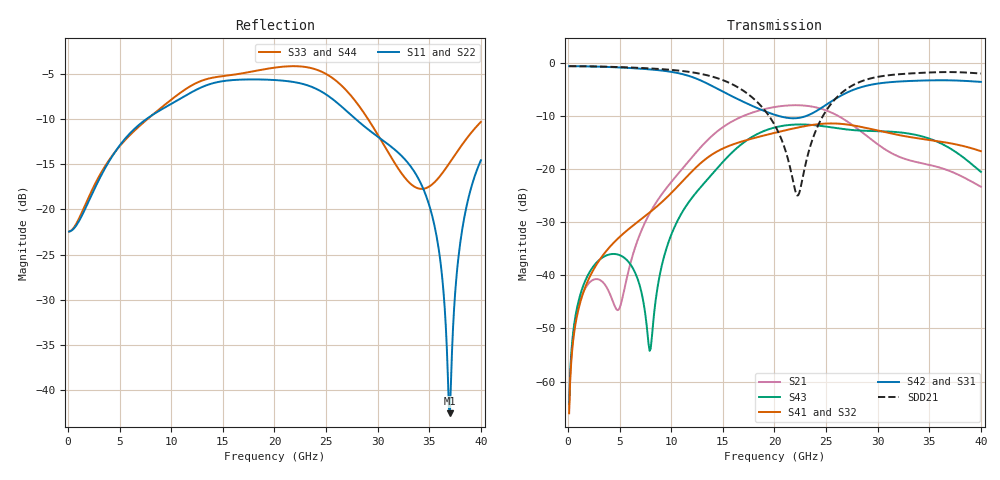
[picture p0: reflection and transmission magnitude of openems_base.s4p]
! E_s8_L1L3_p1200_round_g2: pair L1→L3, pitch 1.2 mm, two round antipads, 2 GND vias
! stackup: 8-layer 1.6 mm FR-4 (generic)
! ports: 1 P near, 2 N near, 3 P far, 4 N far
! openEMS 0.37.0, staircase, base mesh (dfine 0.035 mm), 790920 cells
# Hz S RI R 50
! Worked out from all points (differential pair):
!   400 points, 100 MHz to 40 GHz, reference 50 ohm
!   strongest paths, dB at 100 MHz, 10.1 GHz, 20.1 GHz, 30.1 GHz, 40 GHz:
!     S42: -0.7, -1.8, -9.9, -3.9, -3.6
!     S31: -0.7, -1.8, -9.9, -3.9, -3.6
!     S41: -66.0, -24.3, -13.2, -12.8, -16.7
!     S32: -66.0, -24.3, -13.2, -12.8, -16.7
!     S43: -64.2, -31.9, -12.2, -12.9, -20.6
!     S21: -64.8, -22.2, -8.3, -15.5, -23.4
!   taken as a pair (ports 2,1 in; 4,3 out), SDD21 dB: -0.7, -1.4, -12.0, -2.7, -2.1
!   lowest |S11| = -42.6 dB at 37 GHz (marker M1), VSWR 1.01, Z = 50.7 + j0.108 ohm
!   |S11| at or under -10 dB: start of sweep to 7.583 GHz; 27.87 GHz to end of sweep
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1e8  -0.0754 -0.0017  0.000161 0.00055  0.9238 -0.0351  -4.68e-06 -0.000506
     0.000161 0.00055  -0.0754 -0.0017  -4.68e-06 -0.000506  0.9238 -0.0351
     0.9238 -0.0351  -9.51e-06 -0.000503  -0.0754 -0.0017  0.00015 0.000595
     -9.51e-06 -0.000503  0.9238 -0.0351  0.00015 0.000595  -0.0754 -0.0017
3.3e9  -0.1578 -0.0046  0.00871 0.000411  0.2866 -0.8665  -0.015 -0.00135
       0.00871 0.000411  -0.1578 -0.0046  -0.015 -0.00135  0.2866 -0.8665
       0.2858 -0.8668  -0.015 -0.00134  -0.1618 0.0214  0.0132 0.00614
       -0.015 -0.00134  0.2858 -0.8668  0.0132 0.00614  -0.1618 0.0214
7.9e9  -0.0264 0.3245  0.0365 0.0107  -0.8552 -0.1134  0.0131 0.0365
       0.0365 0.0107  -0.0264 0.3245  0.0131 0.0365  -0.8552 -0.1134
       -0.8556 -0.1114  0.0133 0.0365  -0.0214 0.3231  0.00194 8.43e-05
       0.0133 0.0365  -0.8556 -0.1114  0.00194 8.43e-05  -0.0214 0.3231
1.55e10  -0.094 -0.5088  -0.2464 0.099  0.4702 0.1817  -0.1625 0.0167
         -0.2464 0.099  -0.094 -0.5088  -0.1625 0.0167  0.4702 0.1817
         0.4701 0.1789  -0.1621 0.0182  -0.005 -0.5518  -0.1187 0.0551
         -0.1621 0.0182  0.4701 0.1789  -0.1187 0.0551  -0.005 -0.5518
2.9e10  0.1681 -0.2233  -0.0159 0.2015  -0.6023 0.0942  0.084 0.2269
        -0.0159 0.2015  0.1681 -0.2233  0.084 0.2269  -0.6023 0.0942
        -0.5996 0.1001  0.0847 0.2258  0.2514 -0.1992  0.0611 0.2194
        0.0847 0.2258  -0.5996 0.1001  0.0611 0.2194  0.2514 -0.1992
3.7e10  0.00736 0.00107  6.12e-05 -0.0953  0.6815 -0.0435  -0.1342 -0.1137
        6.12e-05 -0.0953  0.00736 0.00107  -0.1342 -0.1137  0.6815 -0.0435
        0.6786 -0.0472  -0.1324 -0.1136  -0.1808 -0.0218  -0.0967 -0.1227
        -0.1324 -0.1136  0.6786 -0.0472  -0.0967 -0.1227  -0.1808 -0.0218
4e10  -0.1355 -0.129  -0.0659 -0.0168  0.2596 -0.6015  -0.1176 0.088
      -0.0659 -0.0168  -0.1355 -0.129  -0.1176 0.088  0.2596 -0.6015
      0.2557 -0.6061  -0.1179 0.0873  -0.2189 0.2126  -0.0859 0.0374
      -0.1179 0.0873  0.2557 -0.6061  -0.0859 0.0374  -0.2189 0.2126
